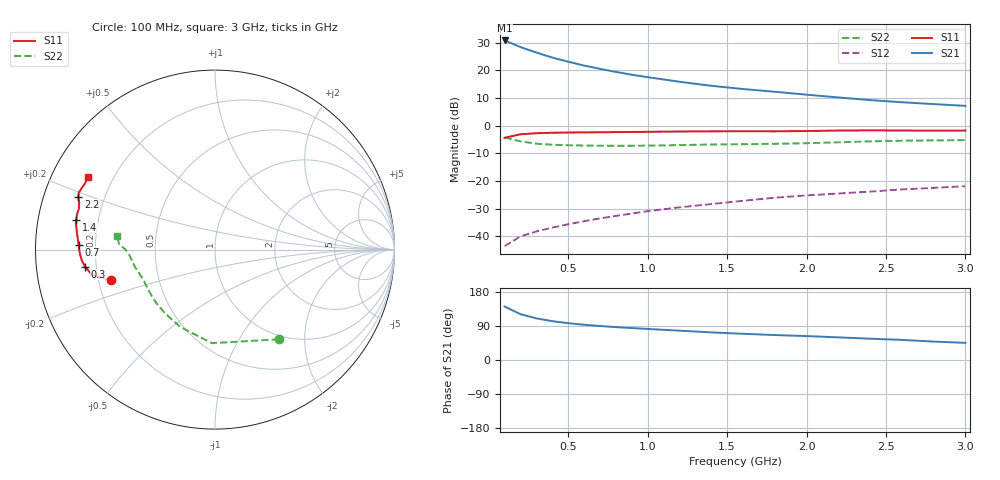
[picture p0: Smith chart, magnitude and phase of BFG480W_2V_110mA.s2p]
! Filename: 2110BFG480.001
! Title: BFG480W
! Bias: Vce=2V; Ic=110mA
! Company: Philips Semiconductors NL
! User: Quality&Reliability T&D
! Measure time: 10 Nov 1999 / 11:55:13
#  MHz  S  MA  R 50
! Freq  S11  S21  S12  S22  :
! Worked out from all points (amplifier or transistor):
!   20 points, 100 MHz to 3 GHz, reference 50 ohm
!   highest |S21| = 30.9 dB at 100 MHz (marker M1)
!   |S21| within 3 dB of that: start of sweep to 230.2 MHz
!   unconditionally stable (mu >= 1): 497.9 MHz to end of sweep
!   at 400 MHz: K = 0.94, MSG = 30.8 dB, |S12| = -36.9 dB
!   at 1.2 GHz: K = 1.13, MAG = 20.6 dB, |S12| = -29.6 dB
!   at 3 GHz: K = 1.13, MAG = 12.4 dB, |S12| = -21.9 dB
!   S11 on the Smith chart (normalised r, x): 100 MHz: 0.25, -0.14; 300 MHz: 0.16, -0.06; 700 MHz: 0.14, +0.02; 1.4 GHz: 0.12, +0.10; 2.2 GHz: 0.10, +0.18; 3 GHz: 0.11, +0.26
100  0.6035 -163.6  34.9 141.0  0.006595 65.5  0.6133 -54.6
200  0.6998 -168.3  26.47 120.8  0.009946 58.6  0.5214 -91.9
300  0.7301 -172.5  21.08 109.8  0.01218 58.9  0.4726 -113.9
400  0.745 -175.5  17.11 102.4  0.0143 61.2  0.452 -127.6
500  0.7519 -178.0  14.4 97.2  0.01645 63.6  0.4428 -137.0
600  0.7574 179.8  12.27 93.1  0.01867 65.5  0.4372 -143.5
700  0.7602 178.0  10.69 89.7  0.02095 67.6  0.4339 -148.5
800  0.7649 176.2  9.408 86.8  0.0233 69.0  0.4323 -152.7
900  0.77 174.5  8.375 84.3  0.02568 70.6  0.4329 -156.1
1000  0.775 172.9  7.553 81.9  0.02835 71.4  0.4356 -159.2
1200  0.7853 170.2  6.244 77.4  0.03327 72.7  0.4455 -164.0
1400  0.791 167.9  5.281 72.9  0.03813 73.3  0.456 -167.6
1600  0.7936 165.6  4.613 69.2  0.04371 73.8  0.4621 -170.6
1800  0.7917 163.0  4.116 65.8  0.04971 74.0  0.4698 -173.8
2000  0.8005 160.9  3.643 63.1  0.05465 74.6  0.4818 -177.3
2200  0.8167 158.9  3.245 59.7  0.05922 74.2  0.5003 179.8
2400  0.8222 157.1  2.906 56.2  0.06404 73.6  0.5207 177.9
2600  0.8183 155.3  2.658 53.0  0.07031 72.7  0.535 176.7
2800  0.8126 152.9  2.461 48.6  0.07493 71.2  0.5414 174.9
3000  0.8166 150.3  2.285 45.2  0.08025 70.3  0.5484 172.2
